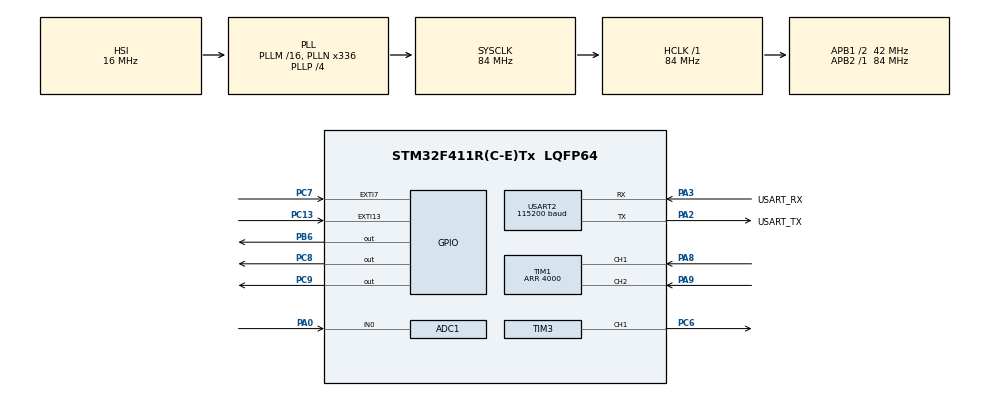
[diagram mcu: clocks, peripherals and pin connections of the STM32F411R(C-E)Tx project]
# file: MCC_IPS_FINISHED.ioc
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ADC1.Channel-1\#ChannelRegularConversion=ADC_CHANNEL_0
ADC1.ContinuousConvMode=ENABLE
ADC1.DMAContinuousRequests=ENABLE
ADC1.InjNumberOfConversion=0
ADC1.NbrOfConversion=1
ADC1.NbrOfConversionFlag=1
ADC1.Rank-1\#ChannelRegularConversion=1
ADC1.SamplingTime-1\#ChannelRegularConversion=ADC_SAMPLETIME_3CYCLES
ADC1.ScanConvMode=DISABLE
ADC1.master=1
Dma.ADC1.0.Direction=DMA_PERIPH_TO_MEMORY
Dma.ADC1.0.FIFOMode=DMA_FIFOMODE_DISABLE
Dma.ADC1.0.Instance=DMA2_Stream0
Dma.ADC1.0.MemDataAlignment=DMA_MDATAALIGN_HALFWORD
Dma.ADC1.0.MemInc=DMA_MINC_ENABLE
Dma.ADC1.0.Mode=DMA_CIRCULAR
Dma.ADC1.0.PeriphDataAlignment=DMA_PDATAALIGN_HALFWORD
Dma.ADC1.0.PeriphInc=DMA_PINC_DISABLE
Dma.ADC1.0.Priority=DMA_PRIORITY_LOW
Dma.Request0=ADC1
Dma.Request1=USART2_TX
Dma.USART2_TX.1.Direction=DMA_MEMORY_TO_PERIPH
Dma.USART2_TX.1.FIFOMode=DMA_FIFOMODE_DISABLE
Dma.USART2_TX.1.Instance=DMA1_Stream6
Dma.USART2_TX.1.MemDataAlignment=DMA_MDATAALIGN_BYTE
Dma.USART2_TX.1.MemInc=DMA_MINC_ENABLE
Dma.USART2_TX.1.Mode=DMA_NORMAL
Dma.USART2_TX.1.PeriphDataAlignment=DMA_PDATAALIGN_BYTE
Dma.USART2_TX.1.PeriphInc=DMA_PINC_DISABLE
Dma.USART2_TX.1.Priority=DMA_PRIORITY_LOW
Mcu.Family=STM32F4
Mcu.Name=STM32F411R(C-E)Tx
Mcu.Package=LQFP64
NVIC.ADC_IRQn=true\:1\:0\:true\:false\:true\:true\:true\:true
NVIC.DMA1_Stream6_IRQn=true\:1\:2\:true\:false\:true\:true\:true\:true
NVIC.DMA2_Stream0_IRQn=true\:1\:0\:true\:false\:true\:true\:true\:true
NVIC.EXTI15_10_IRQn=true\:1\:0\:true\:false\:true\:true\:true\:true
NVIC.EXTI9_5_IRQn=true\:1\:0\:true\:false\:true\:true\:true\:true
NVIC.PriorityGroup=NVIC_PRIORITYGROUP_1
NVIC.TIM1_TRG_COM_TIM11_IRQn=true\:1\:1\:true\:false\:true\:true\:true\:true
NVIC.TIM2_IRQn=true\:1\:0\:true\:false\:true\:true\:true\:true
NVIC.USART2_IRQn=true\:1\:0\:true\:false\:true\:true\:true\:true
PA0-WKUP.Signal=ADCx_IN0
PA13.GPIO_Label=TMS
PA13.Mode=Serial_Wire
PA13.Signal=SYS_JTMS-SWDIO
PA14.GPIO_Label=TCK
PA14.Mode=Serial_Wire
PA14.Signal=SYS_JTCK-SWCLK
PA2.GPIO_Label=USART_TX
PA2.Mode=Asynchronous
PA2.Signal=USART2_TX
PA3.GPIO_Label=USART_RX
PA3.Mode=Asynchronous
PA3.Signal=USART2_RX
PA8.Signal=S_TIM1_CH1
PA9.Signal=S_TIM1_CH2
PB6.Signal=GPIO_Output
PC13-ANTI_TAMP.Signal=GPXTI13
PC14-OSC32_IN.Mode=LSE-External-Oscillator
PC14-OSC32_IN.Signal=RCC_OSC32_IN
PC15-OSC32_OUT.Mode=LSE-External-Oscillator
PC15-OSC32_OUT.Signal=RCC_OSC32_OUT
PC6.Signal=S_TIM3_CH1
PC7.Signal=GPXTI7
PC8.Signal=GPIO_Output
PC9.Signal=GPIO_Output
PH0\ -\ OSC_IN.Mode=HSE-External-Clock-Source
PH0\ -\ OSC_IN.Signal=RCC_OSC_IN
PH1\ -\ OSC_OUT.Mode=HSE-External-Clock-Source
PH1\ -\ OSC_OUT.Signal=RCC_OSC_OUT
ProjectManager.HeapSize=0x200
ProjectManager.StackSize=0x400
ProjectManager.TargetToolchain=STM32CubeIDE
RCC.48MHZClocksFreq_Value=84000000
RCC.AHBFreq_Value=84000000
RCC.APB1CLKDivider=RCC_HCLK_DIV2
RCC.APB1Freq_Value=42000000
RCC.APB1TimFreq_Value=84000000
RCC.APB2Freq_Value=84000000
RCC.APB2TimFreq_Value=84000000
RCC.CortexFreq_Value=84000000
RCC.FLatency-AdvancedSettings=FLASH_LATENCY_2
RCC.HCLKFreq_Value=84000000
RCC.HSE_VALUE=8000000
RCC.HSI_VALUE=16000000
RCC.PLLN=336
RCC.PLLP=RCC_PLLP_DIV4
RCC.SYSCLKFreq_VALUE=84000000
RCC.SYSCLKSource=RCC_SYSCLKSOURCE_PLLCLK
RCC.VCOOutputFreq_Value=336000000
SH.ADCx_IN0.0=ADC1_IN0,IN0
SH.S_TIM1_CH1.0=TIM1_CH1,Encoder_Interface
SH.S_TIM1_CH2.0=TIM1_CH2,Encoder_Interface
SH.S_TIM3_CH1.0=TIM3_CH1,PWM Generation1 CH1
TIM1.AutoReloadPreload=TIM_AUTORELOAD_PRELOAD_ENABLE
TIM1.EncoderMode=TIM_ENCODERMODE_TI12
TIM1.IC1Filter=10
TIM1.IC2Filter=10
TIM1.Period=4000
TIM3.AutoReloadPreload=TIM_AUTORELOAD_PRELOAD_ENABLE
TIM3.Channel-PWM\ Generation1\ CH1=TIM_CHANNEL_1
TIM3.Period=1000
TIM3.Prescaler=0
USART2.BaudRate=115200
USART2.Mode=MODE_TX_RX
USART2.VirtualMode=VM_ASYNC
VP_TIM2_VS_ClockSourceINT.Mode=Internal
VP_TIM3_VS_ClockSourceINT.Mode=Internal
board=NUCLEO-F411RE

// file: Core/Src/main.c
/* USER CODE BEGIN Header */
/**
  ******************************************************************************
  * @file           : main.c
  * @brief          : Main program body
  ******************************************************************************
  * @attention
  *
  * Copyright (c) 2024 STMicroelectronics.
  * All rights reserved.
  *
  * This software is licensed under terms that can be found in the LICENSE file
  * in the root directory of this software component.
  * If no LICENSE file comes with this software, it is provided AS-IS.
  *
  ******************************************************************************
  */
/* USER CODE END Header */
#include "current.h"
#include "main.h"
#include "adc.h"
#include "dma.h"
#include "tim.h"
#include "usart.h"
#include "gpio.h"

/* USER CODE BEGIN Includes */
#include "comm.h"
#include "pwmCommand.h"
#include "mccCommand.h"
#include "pidFilter.h"
#include "speed.h"
#include "tickTimer.h"
#include <stdio.h>
/* USER CODE END Includes */

/* USER CODE BEGIN PV */

volatile uint32_t ms_value = 0;
unsigned char rx_data[16];
char ident_data[5];
char value_data[13];

uint32_t test_t0, test_t1;

/* USER CODE END PV */

void SystemClock_Config(void);
/* USER CODE BEGIN PFP */
#ifdef __GNUC__
#define PUTCHAR_PROTOTYPE int __io_putchar(int ch)
#else
#define PUTCHAR_PROTOTYPE int fputc(int ch, FILE *f)
#endif

PUTCHAR_PROTOTYPE
{
	HAL_UART_Transmit(&huart2, (uint8_t *)&ch, 1, HAL_MAX_DELAY); //FOR DELAY
	return ch;
}
/* USER CODE END PFP */

int main(void)
{

  /* MCU Configuration--------------------------------------------------------*/

  /* Reset of all peripherals, Initializes the Flash interface and the Systick. */
  HAL_Init();

  /* Configure the system clock */
  SystemClock_Config();

  /* Initialize all configured peripherals */
  MX_GPIO_Init();
  MX_DMA_Init();
  MX_USART2_UART_Init();
  MX_ADC1_Init();
  MX_TIM2_Init();
  MX_TIM3_Init();
  MX_TIM1_Init();
  /* USER CODE BEGIN 2 */
  HAL_TIM_Base_Start(&htim3);
  printf("\n\r=== NEW SESSION ===\n\r");

  //INIT PERSOS
  pwm_Init();
  pwm_SetVoltage(0.0f);
  printf("PWM INIT PASSED\n\r");

  /* ENCODER SPEED Init */
  encoder_Init();
  printf("ENCODER INIT PASSED\n\r");

  /* MCC Set Direction */
  mcc_SetCW();
  printf("CW INIT PASSED\n\r");

  /* PID Init */
  pidFilter_Init();
  printf("PID INIT PASSED\n\r");
  pidFilter_SetCommand(0.0f);

  /* DMA ADC INIT*/
  current_Init();
  printf("ADC COMPUTE INIT PASSED\n\r");

  /* USART RECEPTION */
  HAL_UART_Receive_IT(&huart2, rx_data, 16);

  /* TIM2 Global interruptions */
  tickTimer_Init(10); // period in ms
  printf("tickTimer2 INIT PASSED\n\r");

  //tickTimer_Start();
  /* Initial tickTime */
  /* USER CODE END 2 */

  /* Infinite loop */
  while (1)
  {

  }
}

void SystemClock_Config(void)
{
  RCC_OscInitTypeDef RCC_OscInitStruct = {0};
  RCC_ClkInitTypeDef RCC_ClkInitStruct = {0};

  /** Configure the main internal regulator output voltage
  */
  __HAL_RCC_PWR_CLK_ENABLE();
  __HAL_PWR_VOLTAGESCALING_CONFIG(PWR_REGULATOR_VOLTAGE_SCALE1);

  /** Initializes the RCC Oscillators according to the specified parameters
  * in the RCC_OscInitTypeDef structure.
  */
  RCC_OscInitStruct.OscillatorType = RCC_OSCILLATORTYPE_HSI;
  RCC_OscInitStruct.HSIState = RCC_HSI_ON;
  RCC_OscInitStruct.HSICalibrationValue = RCC_HSICALIBRATION_DEFAULT;
  RCC_OscInitStruct.PLL.PLLState = RCC_PLL_ON;
  RCC_OscInitStruct.PLL.PLLSource = RCC_PLLSOURCE_HSI;
  RCC_OscInitStruct.PLL.PLLM = 16;
  RCC_OscInitStruct.PLL.PLLN = 336;
  RCC_OscInitStruct.PLL.PLLP = RCC_PLLP_DIV4;
  RCC_OscInitStruct.PLL.PLLQ = 4;
  if (HAL_RCC_OscConfig(&RCC_OscInitStruct) != HAL_OK)
  {
    Error_Handler();
  }

  /** Initializes the CPU, AHB and APB buses clocks
  */
  RCC_ClkInitStruct.ClockType = RCC_CLOCKTYPE_HCLK|RCC_CLOCKTYPE_SYSCLK
                              |RCC_CLOCKTYPE_PCLK1|RCC_CLOCKTYPE_PCLK2;
  RCC_ClkInitStruct.SYSCLKSource = RCC_SYSCLKSOURCE_PLLCLK;
  RCC_ClkInitStruct.AHBCLKDivider = RCC_SYSCLK_DIV1;
  RCC_ClkInitStruct.APB1CLKDivider = RCC_HCLK_DIV2;
  RCC_ClkInitStruct.APB2CLKDivider = RCC_HCLK_DIV1;

  if (HAL_RCC_ClockConfig(&RCC_ClkInitStruct, FLASH_LATENCY_2) != HAL_OK)
  {
    Error_Handler();
  }
}

/* USER CODE BEGIN 4 */

//====================================================================
//			TIMER CALLBACK PERIOD
//====================================================================

void HAL_TIM_PeriodElapsedCallback(TIM_HandleTypeDef *htim)
{
	if (htim->Instance == TIM2){
	//====================================================================
	//			ms count
	//====================================================================
	ms_value++; //= HAL_GetTick();
	/*
	 * Protocole données :
	 * 1. Récupération des données
	 * 		ADC
	 * 		Valeur tr/min
	 *
	 * 2. Traitement des données (optionnel)
	 * 		Si données ne sont pas formalisées, traitement
	 *
	 * 3. Préparation données à l'envoi
	 *
	 * 4. Envoi des données
	 */

	//printf("MOTOR SPEED %f \n\r", output_speed);
	//printf("PWM_Value %i \n\r", (int)PWM_Value);

	//====================================================================
	//			PID Filter
	//====================================================================
	// Constante de temps mécanique tm : 13ms
	// Stabilisation du moteur après sa commande : 5*tm
	if ((ms_value % 1) == 0)
	{

		encoder_GetSpeed();

		current_GetValue();

		comm_SendData(ms_value);

		pidFilter_Compute();

	}

	//====================================================================
	//			ms_count reset
	//====================================================================
	if ((ms_value % 10) == 0)
	{

	}
}
}

void HAL_UART_RxCpltCallback(UART_HandleTypeDef *huart)
{
	/* Decoupage données */
	comm_SliceInput((char *)rx_data, ident_data, value_data);

	/* Traitement données */
	comm_ComputeInput(ident_data, value_data);

	/* Réarmement réception */
	HAL_UART_Receive_IT(&huart2, rx_data, 16);
}

/* USER CODE END 4 */

void Error_Handler(void)
{
  __disable_irq();
  while (1)
  {
  }
}
